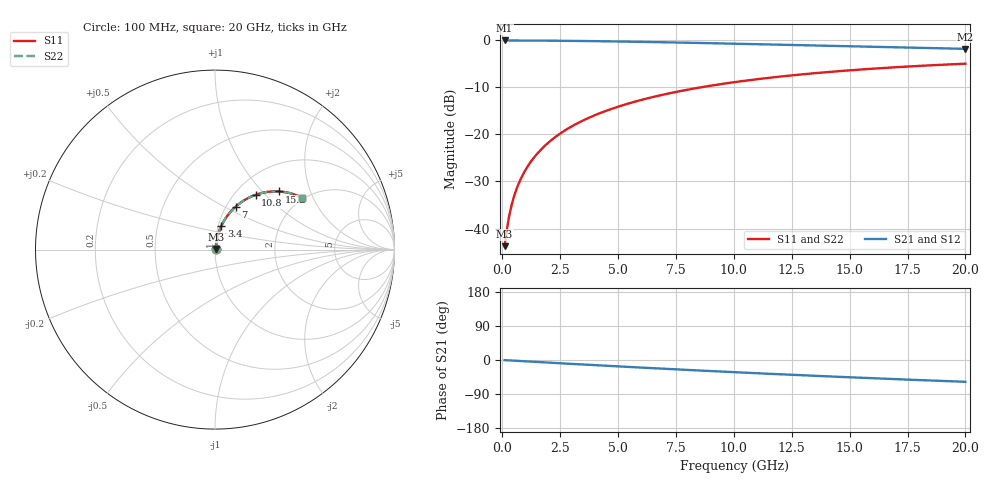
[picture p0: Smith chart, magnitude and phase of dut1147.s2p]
! Touchstone file exported from HFSS 2026.1.0
!  File:  C:/ffzhzh/LocalFiles/Ansys_Project_Files/temp_train_TMRDL_1147_1783162050_18472.aedt
!  Generated:  06:48:55 PM Jul  4, 2026
!  Design:  TMRDL
!  Project:  temp_train_TMRDL_1147_1783162050_18472
! Variables:
!  h_bsmrdl = 2um
!  h_ox = 20um
!  h_rdl = 5um
!  h_sub = 80um
!  h_tmrdl = 5.28um
!  h_tsv = 80um
!  h_via = 3um
!  l_bsmrdl = 300um
!  l_sub = 1264.61um
!  l_tmrdl = 864.61um
!  m_sub = 200um
!  pitch = 44.9um
!  r_tsv = 6um
!  s_tmrdl = 10um
!  w_bsmrdl = 18um
!  w_sub = 500um
!  w_tmrdl = 11.89um
!  x_tsv_center1 = 870.555um
!  x_tsv_center2 = 1188.555um
!  x_tsv_center3 = 2065.055um
!  x_tsv_center4 = 2383.055um
!  x_tsv_center5 = 3259.555um
!  x_tsv_center6 = 3577.555um
# GHz S MA R 50.000000
! Terminal data exported
! Port[1] = TM_RDL1_1_T1
! Port[2] = TM_RDL1_1_T2
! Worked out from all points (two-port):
!   200 points, 100 MHz to 20 GHz, reference 50 ohm
!   highest |S21| = -0.04 dB at 100 MHz (marker M1); lowest = -1.8 dB at 20 GHz (marker M2)
!   |S21| within 3 dB of the highest: start of sweep to end of sweep
!   lowest |S11| = -43.7 dB at 100 MHz (marker M3), VSWR 1.01, Z = 50.5 + j0.43 ohm
!   |S11| at or under -10 dB: start of sweep to 8.577 GHz
!   |S22| runs from -43.7 to -5.0 dB; largest |S21 - S12| = 2.7e-15
!   S11 on the Smith chart (normalised r, x): 100 MHz: 1.01, +0.01; 3.4 GHz: 1.04, +0.28; 7 GHz: 1.11, +0.57; 10.8 GHz: 1.24, +0.88; 15.2 GHz: 1.48, +1.26; 20 GHz: 1.94, +1.65
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0.1  0.006495 41.0  0.9951 -0.4  0.9951 -0.4  0.006495 41.0
! Gamma 0 0 0 0
! Port Impedance 50 0 50 0
0.2  0.009877 59.0  0.995 -0.7  0.995 -0.7  0.009877 59.0
0.3  0.0137 67.1  0.9948 -1.1  0.9948 -1.1  0.0137 67.1
0.4  0.01765 71.4  0.9946 -1.4  0.9946 -1.4  0.01765 71.4
0.5  0.02164 74.0  0.9945 -1.8  0.9945 -1.8  0.02164 74.0
0.6  0.02565 75.7  0.9943 -2.1  0.9943 -2.1  0.02565 75.7
0.8  0.03372 77.7  0.9939 -2.8  0.9939 -2.8  0.03372 77.7
1.1  0.04587 78.9  0.9932 -3.8  0.9932 -3.8  0.04587 78.9
1.5  0.06205 79.2  0.992 -5.2  0.992 -5.2  0.06205 79.2
2  0.08217 78.5  0.9901 -6.9  0.9901 -6.9  0.08216 78.5
2.6  0.106 77.2  0.9872 -8.9  0.9872 -8.9  0.106 77.2
3.4  0.1372 75.0  0.9825 -11.6  0.9825 -11.6  0.1372 75.0
3.5  0.141 74.7  0.9818 -11.9  0.9818 -11.9  0.141 74.7
5  0.1968 70.2  0.9705 -16.9  0.9705 -16.9  0.1968 70.2
6.8  0.2594 64.8  0.954 -22.5  0.954 -22.5  0.2594 64.8
7  0.2661 64.3  0.952 -23.2  0.952 -23.2  0.2661 64.3
10.1  0.3609 55.4  0.9186 -32.4  0.9186 -32.4  0.3609 55.4
10.8  0.3801 53.5  0.9106 -34.4  0.9106 -34.4  0.3801 53.5
13.4  0.4447 46.6  0.8806 -41.5  0.8806 -41.5  0.4447 46.6
15.2  0.4833 42.1  0.8601 -46.1  0.8601 -46.1  0.4833 42.1
16.7  0.5118 38.5  0.8436 -49.8  0.8436 -49.8  0.5118 38.5
20  0.5637 31.0  0.8105 -57.5  0.8105 -57.5  0.5637 31.0
